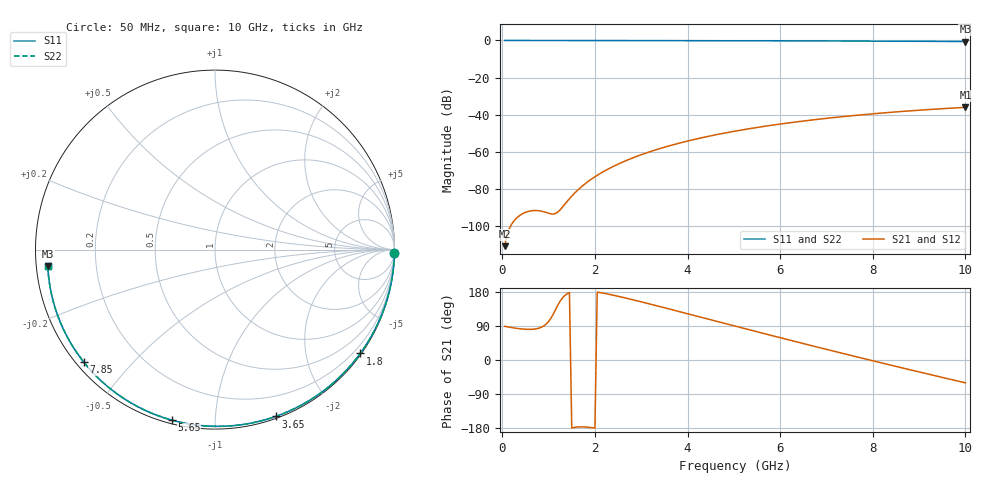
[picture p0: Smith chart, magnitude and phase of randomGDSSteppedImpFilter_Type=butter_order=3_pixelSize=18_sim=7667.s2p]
! freq	dB(S11)	phase(S11)	dB(S12)	phase(S12)
!  dB(S21)	phase(S21)	dB(S22)	phase(S22)
!S-par simulation data
#  GHz  S  DB  R 50
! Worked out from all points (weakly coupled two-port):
!   200 points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, 50 MHz to 10 GHz, reference 50 ohm
!   highest |S21| = -36.03 dB at 10 GHz (marker M1); lowest = -110.8 dB at 50 MHz (marker M2)
!   lowest |S11| = -0.6 dB at 10 GHz (marker M3), VSWR 30.37, Z = 1.65 - j2.42 ohm
!   |S11| at or under -10 dB: nowhere
!   |S22| runs from -0.6 to 0.0 dB; largest |S21 - S12| = 0
!   S11 on the Smith chart (normalised r, x): 50 MHz: open; 1.8 GHz: 0.03, -3.12; 3.65 GHz: 0.02, -1.43; 5.65 GHz: 0.02, -0.78; 7.85 GHz: 0.02, -0.37; 10 GHz: 0.03, -0.05
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0.05  -0.00 -1.0  -110.79 88.9  -110.79 88.9  -0.00 -1.0
0.45  -0.01 -9.1  -93.15 81.6  -93.15 81.6  -0.01 -9.1
0.85  -0.02 -17.0  -91.96 86.8  -91.96 86.8  -0.02 -17.0
1.65  -0.04 -32.7  -80.10 -176.6  -80.10 -176.6  -0.04 -32.7
1.75  -0.04 -34.6  -77.94 -176.5  -77.94 -176.5  -0.04 -34.6
1.8  -0.05 -35.6  -76.95 -176.9  -76.95 -176.9  -0.05 -35.6
2.1  -0.05 -41.3  -71.85 178.2  -71.85 178.2  -0.05 -41.3
2.3  -0.06 -45.1  -69.05 173.5  -69.05 173.5  -0.06 -45.1
2.5  -0.06 -48.9  -66.60 168.2  -66.60 168.2  -0.06 -48.9
2.9  -0.07 -56.4  -62.44 156.5  -62.44 156.5  -0.07 -56.4
3.4  -0.09 -65.5  -58.24 141.1  -58.24 141.1  -0.09 -65.5
3.65  -0.09 -70.0  -56.44 133.2  -56.44 133.2  -0.09 -70.0
4.35  -0.12 -82.3  -52.16 111.0  -52.16 111.0  -0.12 -82.3
5.05  -0.15 -94.3  -48.73 88.7  -48.73 88.7  -0.15 -94.3
5.65  -0.17 -104.2  -46.28 69.8  -46.28 69.8  -0.17 -104.3
6.15  -0.20 -112.4  -44.51 54.2  -44.51 54.2  -0.20 -112.4
6.7  -0.24 -121.2  -42.79 37.2  -42.79 37.2  -0.24 -121.3
7.3  -0.28 -130.8  -41.16 18.9  -41.16 18.9  -0.28 -130.8
7.85  -0.33 -139.5  -39.84 2.4  -39.84 2.4  -0.33 -139.5
8.35  -0.38 -147.5  -38.77 -12.5  -38.77 -12.5  -0.38 -147.5
9.2  -0.47 -161.1  -37.22 -37.3  -37.22 -37.3  -0.47 -161.2
10  -0.57 -174.4  -36.03 -60.3  -36.03 -60.3  -0.57 -174.5
